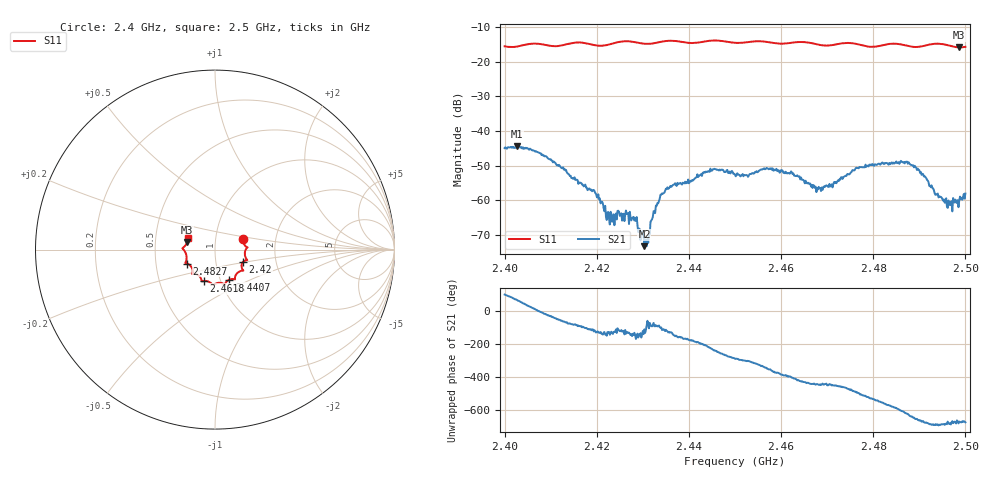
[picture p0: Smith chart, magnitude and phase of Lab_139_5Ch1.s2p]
# Hz S RI R 50
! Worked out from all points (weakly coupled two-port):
!   601 points, 2.4 GHz to 2.5 GHz, reference 50 ohm
!   highest |S21| = -44.47 dB at 2.4027 GHz (marker M1); lowest = -73.2 dB at 2.4303 GHz (marker M2)
!   lowest |S11| = -15.9 dB at 2.4987 GHz (marker M3), VSWR 1.38, Z = 36.5 + j3.23 ohm
!   |S11| at or under -10 dB: start of sweep to end of sweep
!   S12 and S22 are empty: the file has one direction only
!   S11 on the Smith chart (normalised r, x): 2.4 GHz: 1.35, +0.17; 2.42 GHz: 1.35, -0.19; 2.4407 GHz: 1.10, -0.38; 2.4618 GHz: 0.83, -0.30; 2.4827 GHz: 0.72, -0.12; 2.5 GHz: 0.73, +0.10
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2.4e9  0.1544 0.0615  -0.000672 0.00562  0 0  0 0
2.402667e9  0.1624 0.0282  0.00263 0.00537  0 0  0 0
2.408667e9  0.175 0.00577  0.00405 -0.00148  0 0  0 0
2.416667e9  0.1789 -0.0589  -0.000152 -0.00176  0 0  0 0
2.42e9  0.1562 -0.069  -0.000739 -0.000849  0 0  0 0
2.4225e9  0.1477 -0.0942  -0.000481 -0.000477  0 0  0 0
2.428167e9  0.1512 -0.1173  -0.00036 -0.000364  0 0  0 0
2.430333e9  0.1306 -0.1254  -8.77e-05 -0.0002  0 0  0 0
2.431e9  0.1242 -0.1306  0.000129 -0.000244  0 0  0 0
2.433333e9  0.1117 -0.1528  -6.69e-05 -0.000901  0 0  0 0
2.4355e9  0.1115 -0.1653  -0.000991 -0.00108  0 0  0 0
2.440667e9  0.0792 -0.1675  -0.00195 9.12e-05  0 0  0 0
2.445167e9  0.0535 -0.1943  -0.00157 0.00232  0 0  0 0
2.45e9  0.027 -0.1848  0.000892 0.00217  0 0  0 0
2.461833e9  -0.0616 -0.1749  0.00187 -0.00153  0 0  0 0
2.466667e9  -0.0757 -0.1681  0.000178 -0.00166  0 0  0 0
2.482667e9  -0.1581 -0.0778  -0.00308 0.00146  0 0  0 0
2.483333e9  -0.1621 -0.0769  -0.00277 0.00172  0 0  0 0
2.4875e9  -0.1589 -0.0553  -0.000237 0.00337  0 0  0 0
2.495667e9  -0.1753 0.0129  0.000794 0.000494  0 0  0 0
2.498667e9  -0.1541 0.043  0.000656 0.000743  0 0  0 0
2.5e9  -0.1509 0.0631  0.000911 0.00086  0 0  0 0
